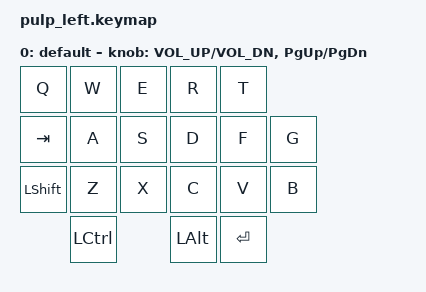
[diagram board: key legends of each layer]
#include <behaviors.dtsi>
#include <dt-bindings/zmk/keys.h>

/ {

    keymap {
        compatible = "zmk,keymap";


        default_layer {
            display-name = "default";
            // ------------------------------------------------------------------------------------------------------------
            // |       |  Q  |  W  |  E   |  R   |  T   |                   |  Y   |  U    |  I    |  O   |   P   |       |
            // |  TAB  |  A  |  S  |  D   |  F   |  G   |                   |  H   |  J    |  K    |  L   |   ;   |  BSPC |
            // | SHIFT |  Z  |  X  |  C   |  V   |  B   |                   |  N   |  M    |  ,    |  .   |   /   | SHIFT |
            //                     | CTRL  | ALT | ENTER|                   | SPACE| CTRL  |  GUI  |
                        bindings = <
                      &kp Q  &kp W    &kp E    &kp R     &kp T
                      &kp TAB   &kp A  &kp S    &kp D    &kp F     &kp G
                      &kp LSHFT &kp Z  &kp X    &kp C    &kp V     &kp B
                                   &kp LCTRL &kp LALT  &kp RET
                                   >;

            sensor-bindings = <&inc_dec_kp C_VOL_UP C_VOL_DN &inc_dec_kp PG_UP PG_DN>;
        };


        // lower_layer {
        //     display-name = "lower";
        //     // ------------------------------------------------------------------------------------------------------------
        //     // |       |  1  |  2  |  3   |  4   |  5   |                   |  6   |  7    |  8    |  9   |   0   |       |
        //     // |   `   |  !  |  @  |  #   |  $   |  %   |                   |  ^   |  &    |  *    |  (   |   )   |   |   |
        //     // |       |  =  |  -  |  +   |  {   |  }   |                   |  [   |  ]    |  ;    |  :   |   \   |       |
        //     //               |     |      |      |      |                   |      |       |       |      |
        //                 bindings = <
        //                 &kp N1    &kp N2    &kp N3      &kp N4    &kp N5                       &kp N6    &kp N7   &kp N8    &kp N9    &kp N0
        //     &kp GRAVE   &kp EXCL  &kp AT    &kp HASH    &kp DLLR  &kp PRCNT                    &kp CARET &kp AMPS &kp ASTRK &kp LPAR  &kp RPAR  &kp PIPE
        //     &trans      &kp EQUAL &kp MINUS &kp PLUS    &kp LBRC  &kp RBRC                     &kp LBKT  &kp RBKT &kp SEMI  &kp COLON &kp BSLH  &trans
        //                                     &trans      &trans    &trans                       &trans   &trans    &trans
        //                 >;

        //                 sensor-bindings = <&inc_dec_kp C_VOL_UP C_VOL_DN &inc_dec_kp PG_UP PG_DN>;
        // };

    };
};
